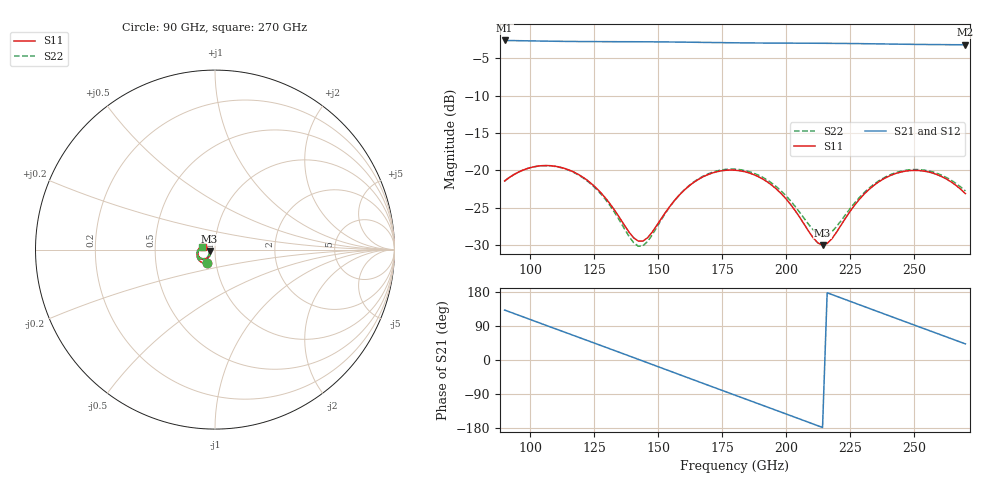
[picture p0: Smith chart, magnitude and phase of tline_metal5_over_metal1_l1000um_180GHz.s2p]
#  GHZ S DB R 50
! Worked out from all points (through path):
!   101 points, 90 GHz to 270 GHz, reference 50 ohm
!   highest |S21| = -2.60 dB at 90 GHz (marker M1); lowest = -3.2 dB at 270 GHz (marker M2)
!   group delay of S21, straight-line fit = 6.94 ps
!   lowest |S11| = -30.0 dB at 214.2 GHz (marker M3), VSWR 1.07, Z = 47 - j0.803 ohm
!   |S11| at or under -10 dB: start of sweep to end of sweep
!   |S22| runs from -30.2 to -19.4 dB; largest |S21 - S12| = 8.5e-14
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90  -21.43 -121.0  -2.60 131.9  -2.60 131.9  -21.43 -120.6
97.2  -19.96 -133.6  -2.64 113.9  -2.64 113.9  -19.97 -133.4
104.4  -19.38 -147.5  -2.68 95.9  -2.68 95.9  -19.40 -147.5
111.6  -19.57 -161.5  -2.72 78.0  -2.72 78.0  -19.61 -161.7
120.6  -20.92 -177.3  -2.75 55.7  -2.75 55.7  -21.00 -177.8
131.4  -24.59 171.6  -2.77 28.8  -2.77 28.8  -24.83 170.6
142.2  -29.47 -163.7  -2.78 1.8  -2.78 1.8  -30.16 -162.1
145.8  -29.05 -146.0  -2.78 -7.2  -2.78 -7.2  -29.56 -142.4
151.2  -26.46 -131.6  -2.80 -20.7  -2.80 -20.7  -26.63 -127.7
165.6  -21.23 -140.5  -2.85 -56.8  -2.85 -56.8  -21.16 -137.7
172.8  -20.19 -152.2  -2.89 -74.8  -2.89 -74.8  -20.09 -149.6
180  -19.98 -164.9  -2.92 -92.7  -2.92 -92.7  -19.84 -162.2
194.4  -22.00 172.0  -2.95 -128.6  -2.95 -128.6  -21.72 175.2
203.4  -25.34 165.5  -2.97 -151.0  -2.97 -151.0  -24.79 169.3
210.6  -29.07 178.2  -2.98 -169.1  -2.98 -169.1  -27.99 -179.3
214.2  -30.01 -164.3  -2.98 -178.1  -2.98 -178.1  -28.79 -164.9
217.8  -29.19 -146.5  -2.99 172.9  -2.99 172.9  -28.24 -149.9
226.8  -24.63 -132.8  -3.02 150.3  -3.02 150.3  -24.34 -135.9
241.2  -20.62 -149.3  -3.09 114.2  -3.09 114.2  -20.51 -150.5
248.4  -20.03 -161.3  -3.12 96.3  -3.12 96.3  -19.92 -161.9
255.6  -20.22 -173.5  -3.15 78.4  -3.15 78.4  -20.08 -173.5
270  -23.12 166.9  -3.18 42.5  -3.18 42.5  -22.77 168.3
